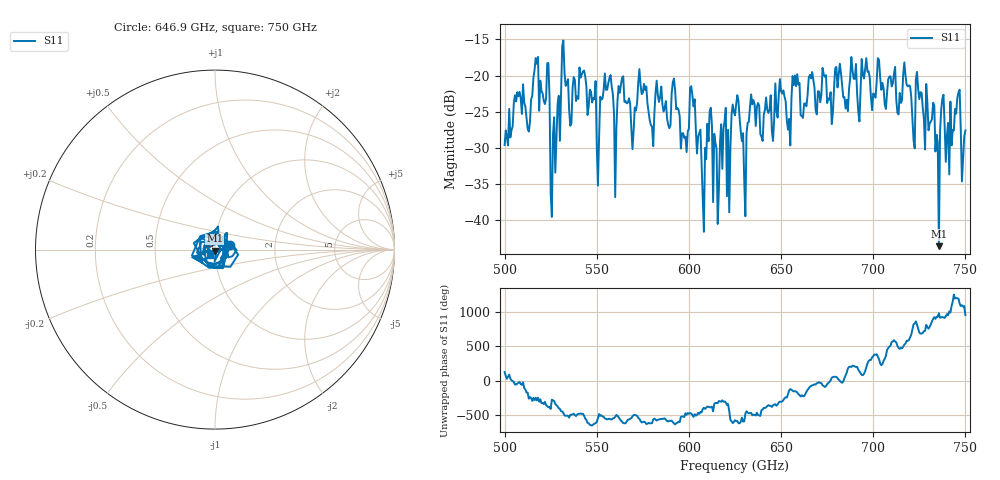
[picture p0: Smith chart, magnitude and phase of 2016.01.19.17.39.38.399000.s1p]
!Created with skrf (http://scikit-rf.org).
# GHz S RI R 50.0
!freq ReS11 ImS11
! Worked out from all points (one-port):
!   401 points, 500 GHz to 750 GHz, reference 50 ohm
!   lowest |S11| = -43.6 dB at 735.6 GHz (marker M1), VSWR 1.01, Z = 49.8 - j0.639 ohm
!   |S11| at or under -10 dB: start of sweep to end of sweep
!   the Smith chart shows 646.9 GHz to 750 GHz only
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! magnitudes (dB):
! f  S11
! 500 GHz  -29.6
! 506.9 GHz  -22.3
! 513.1 GHz  -27.8
! 516.9 GHz  -17.6
! 523.1 GHz  -18.3
! 526.2 GHz  -28.2
! 531.2 GHz  -16.0
! 541.9 GHz  -19.8
! 551.2 GHz  -28.8
! 553.1 GHz  -23.2
! 560 GHz  -36.8
! 562.5 GHz  -22.4
! 570 GHz  -27.6
! 593.8 GHz  -24.5
! 598.1 GHz  -28.5
! 601.9 GHz  -22.7
! 608.1 GHz  -41.6
! 611.2 GHz  -25.0
! 616.9 GHz  -29.2
! 625 GHz  -25.5
! 630 GHz  -34.5
! 634.4 GHz  -24.0
! 656.2 GHz  -20.1
! 687.5 GHz  -20.4
! 718.8 GHz  -21.5
! 735.6 GHz  -43.6
! 745.6 GHz  -23.1
! 750 GHz  -27.6
